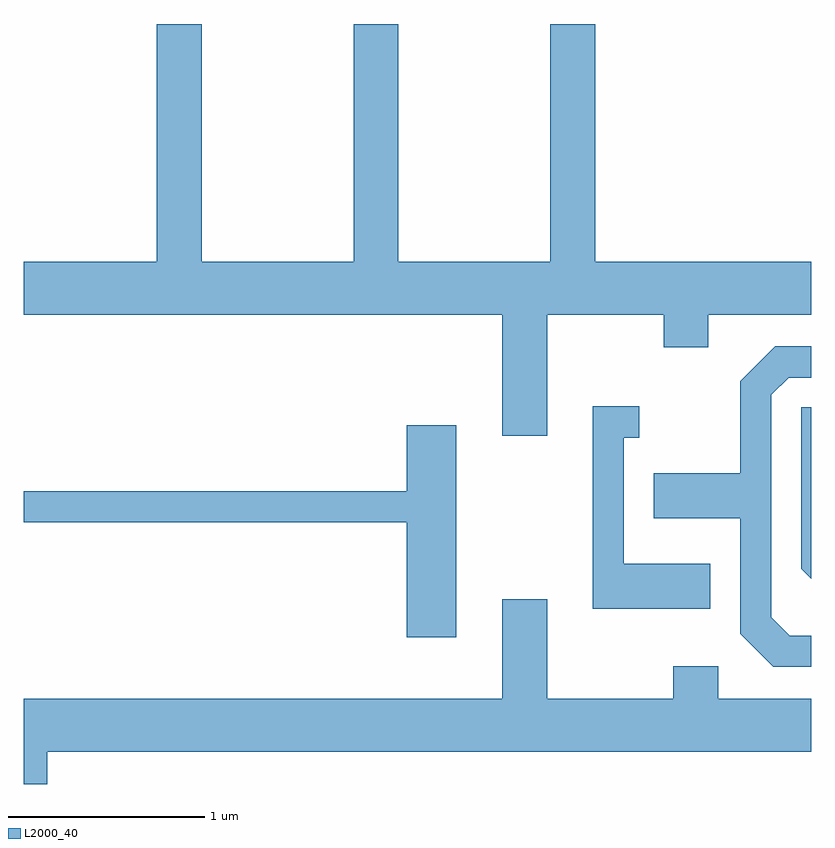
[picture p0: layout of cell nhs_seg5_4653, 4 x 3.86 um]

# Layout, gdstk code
import gdstk
lib = gdstk.Library(unit=1e-6, precision=1e-09)
def P(c, l, *ps):  # polygons
    for p in ps: c.add(gdstk.Polygon(p, *l))
L2000_40 = (2000, 40)

nhs_seg5_4653 = lib.new_cell('nhs_seg5_4653')
P(nhs_seg5_4653, L2000_40, [(326.041,1433.981),(326.269,1433.981),(326.269,1434.596),(326.861,1434.596),(326.861,1434.431),(327.089,1434.431),(327.089,1434.596),(327.611,1434.596),(327.611,1434.864),(326.514,1434.864),(326.514,1436.072),(326.286,1436.072),(326.286,1434.864),(325.514,1434.864),(325.514,1436.072),(325.286,1436.072),(325.286,1434.864),(324.514,1434.864),(324.514,1436.072),(324.286,1436.072),(324.286,1434.864),(323.611,1434.864),(323.611,1434.596),(326.041,1434.596)],
  [(327.611,1432.964),(327.502,1432.964),(327.409,1433.057),(327.409,1434.189),(327.497,1434.276),(327.611,1434.276),(327.611,1434.434),(327.429,1434.434),(327.251,1434.257),(327.251,1433.789),(326.811,1433.789),(326.811,1433.561),(327.251,1433.561),(327.251,1432.974),(327.419,1432.806),(327.611,1432.806)],
  [(327.099,1433.329),(326.659,1433.329),(326.659,1433.971),(326.738,1433.971),(326.738,1434.129),(326.501,1434.129),(326.501,1433.101),(327.099,1433.101)],
  [(327.611,1434.124),(327.561,1434.124),(327.561,1433.304),(327.611,1433.254)],
  [(325.809,1434.034),(325.556,1434.034),(325.556,1433.699),(323.611,1433.699),(323.611,1433.541),(325.556,1433.541),(325.556,1432.956),(325.809,1432.956)],
  [(323.729,1432.376),(327.611,1432.376),(327.611,1432.644),(327.139,1432.644),(327.139,1432.809),(326.911,1432.809),(326.911,1432.644),(326.269,1432.644),(326.269,1433.149),(326.041,1433.149),(326.041,1432.644),(323.611,1432.644),(323.611,1432.211),(323.729,1432.211)])

lib.write_gds('nhs_seg5_4653.gds')
